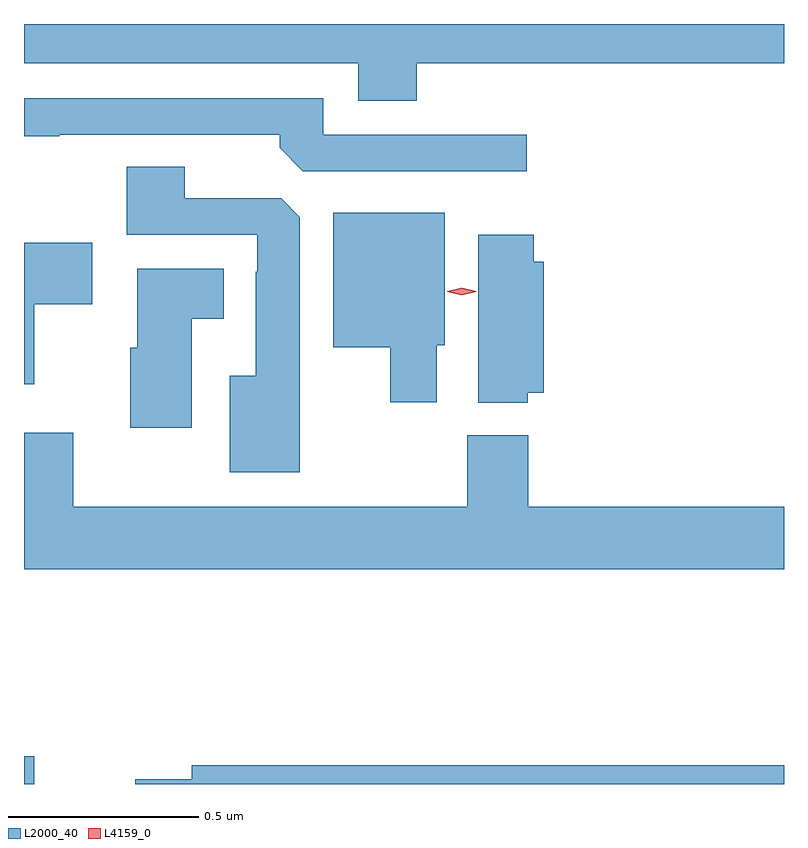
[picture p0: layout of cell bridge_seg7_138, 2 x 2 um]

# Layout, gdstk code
import gdstk
lib = gdstk.Library(unit=1e-6, precision=1e-09)
def R(c, l, rs):  # rectangles x0, y0, x1, y1
    for r in rs: c.add(gdstk.rectangle(r[:2], r[2:], *l))
def P(c, l, *ps):  # polygons
    for p in ps: c.add(gdstk.Polygon(p, *l))
L2000_40 = (2000, 40)
L4159_0 = (4159, 0)

bridge_seg7_138 = lib.new_cell('bridge_seg7_138')
R(bridge_seg7_138, L2000_40, [(738.025,1030.687,738.052,1030.76)])
P(bridge_seg7_138, L2000_40, [(739.058,1032.584),(740.025,1032.584),(740.025,1032.687),(738.025,1032.687),(738.025,1032.584),(738.905,1032.584),(738.905,1032.485),(739.058,1032.485)],
  [(739.348,1032.396),(738.813,1032.396),(738.813,1032.492),(738.025,1032.492),(738.025,1032.391),(738.118,1032.391),(738.118,1032.396),(738.698,1032.396),(738.698,1032.362),(738.759,1032.3),(739.348,1032.3)],
  [(738.751,1032.179),(738.702,1032.228),(738.448,1032.228),(738.448,1032.311),(738.296,1032.311),(738.296,1032.132),(738.639,1032.132),(738.639,1032.035),(738.635,1032.035),(738.635,1031.761),(738.566,1031.761),(738.566,1031.507),(738.751,1031.507)],
  [(739.111,1031.841),(739.132,1031.841),(739.132,1032.19),(738.839,1032.19),(738.839,1031.837),(738.989,1031.837),(738.989,1031.691),(739.111,1031.691)],
  [(739.35,1031.717),(739.393,1031.717),(739.393,1032.061),(739.367,1032.061),(739.367,1032.132),(739.22,1032.132),(739.22,1031.69),(739.35,1031.69)],
  [(738.052,1031.95),(738.205,1031.95),(738.205,1032.112),(738.025,1032.112),(738.025,1031.739),(738.052,1031.739)],
  [(738.466,1031.912),(738.55,1031.912),(738.55,1032.043),(738.323,1032.043),(738.323,1031.835),(738.305,1031.835),(738.305,1031.625),(738.466,1031.625)],
  [(740.025,1031.416),(739.352,1031.416),(739.352,1031.605),(739.192,1031.605),(739.192,1031.416),(738.154,1031.416),(738.154,1031.611),(738.025,1031.611),(738.025,1031.252),(740.025,1031.252)],
  [(740.025,1030.736),(738.467,1030.736),(738.467,1030.7),(738.318,1030.7),(738.318,1030.687),(740.025,1030.687)])
P(bridge_seg7_138, L4159_0, [(739.177,1031.973),(739.139,1031.983),(739.139,1031.983),(739.139,1031.984),(739.177,1031.993),(739.215,1031.984),(739.215,1031.983),(739.215,1031.983)])

lib.write_gds('bridge_seg7_138.gds')
